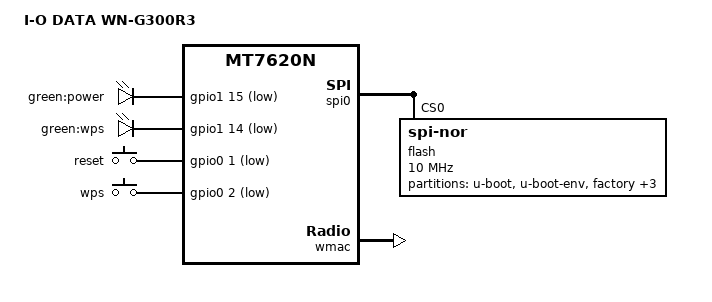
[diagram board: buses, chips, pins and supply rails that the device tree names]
// SPDX-License-Identifier: GPL-2.0-or-later OR MIT

#include "mt7620n.dtsi"

#include <dt-bindings/gpio/gpio.h>
#include <dt-bindings/input/input.h>

/ {
	compatible = "iodata,wn-g300r3", "ralink,mt7620n-soc";
	model = "I-O DATA WN-G300R3";

	chosen {
		bootargs = "console=ttyS0,115200";
	};

	aliases {
		led-boot = &led_power;
		led-failsafe = &led_power;
		led-running = &led_power;
		led-upgrade = &led_power;
	};

	leds {
		compatible = "gpio-leds";

		led_power: power {
			label = "green:power";
			gpios = <&gpio1 15 GPIO_ACTIVE_LOW>;
		};

		wps {
			label = "green:wps";
			gpios = <&gpio1 14 GPIO_ACTIVE_LOW>;
		};
	};

	keys {
		compatible = "gpio-keys";

		reset {
			label = "reset";
			gpios = <&gpio0 1 GPIO_ACTIVE_LOW>;
			linux,code = <KEY_RESTART>;
		};

		wps {
			label = "wps";
			gpios = <&gpio0 2 GPIO_ACTIVE_LOW>;
			linux,code = <KEY_WPS_BUTTON>;
		};
	};
};

&spi0 {
	status = "okay";

	flash@0 {
		compatible = "jedec,spi-nor";
		reg = <0>;
		spi-max-frequency = <10000000>;

		partitions {
			compatible = "fixed-partitions";
			#address-cells = <1>;
			#size-cells = <1>;

			partition@0 {
				label = "u-boot";
				reg = <0x0 0x30000>;
				read-only;
			};

			partition@30000 {
				label = "u-boot-env";
				reg = <0x30000 0x10000>;
				read-only;
			};

			factory: partition@40000 {
				label = "factory";
				reg = <0x40000 0x10000>;
				read-only;
			};

			partition@50000 {
				compatible = "denx,uimage";
				label = "firmware";
				reg = <0x50000 0x390000>;
			};

			partition@3e0000 {
				label = "backup";
				reg = <0x3e0000 0x10000>;
				read-only;
			};

			partition@3f0000 {
				label = "storage";
				reg = <0x3f0000 0x10000>;
				read-only;
			};
		};
	};
};

&ethernet {
	pinctrl-names = "default";
	pinctrl-0 = <&ephy_pins>;

	mtd-mac-address = <&factory 0x4>;
};

&gpio1 {
	status = "okay";
};

&state_default {
	gpio {
		groups = "i2c", "spi refclk";
		function = "gpio";
	};
};

&wmac {
	ralink,mtd-eeprom = <&factory 0x0>;
};
